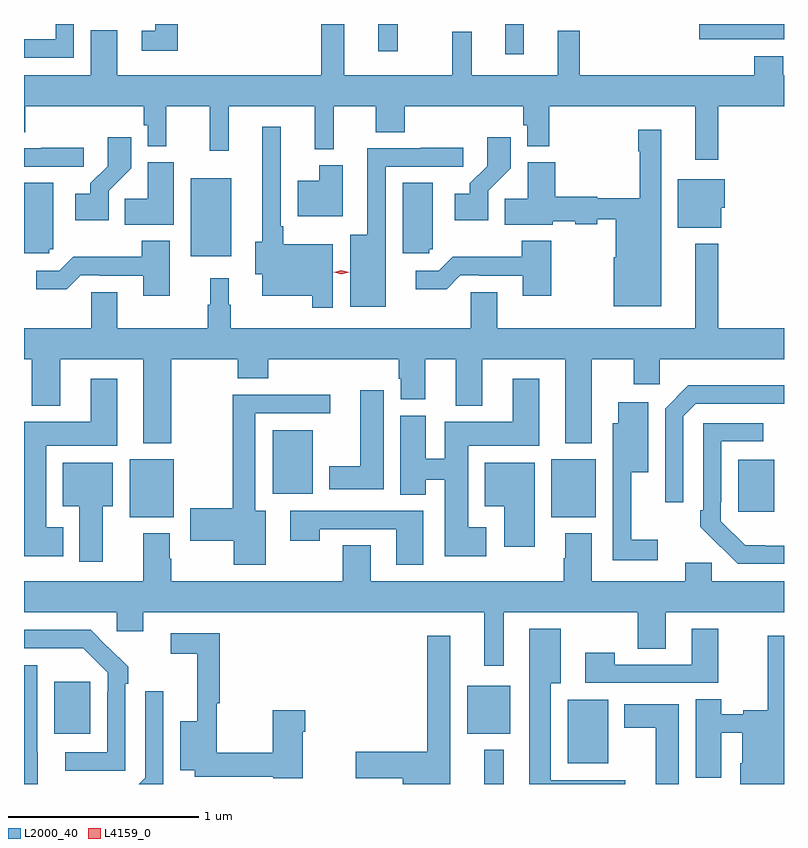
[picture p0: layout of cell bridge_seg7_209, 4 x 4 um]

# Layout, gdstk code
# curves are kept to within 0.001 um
import gdstk
lib = gdstk.Library(unit=1e-6, precision=1e-09)
def R(c, l, rs):  # rectangles x0, y0, x1, y1
    for r in rs: c.add(gdstk.rectangle(r[:2], r[2:], *l))
def P(c, l, *ps):  # polygons
    for p in ps: c.add(gdstk.Polygon(p, *l))
L2000_40 = (2000, 40)
L4159_0 = (4159, 0)

bridge_seg7_209 = lib.new_cell('bridge_seg7_209')
R(bridge_seg7_209, L2000_40, [(124.055,1015.697,124.159,1015.876), (124.496,1015.805,124.708,1016.14), (121.793,1015.961,121.981,1016.236), (123.965,1015.961,124.192,1016.215), (122.189,1017.101,122.422,1017.406), (124.409,1017.101,124.642,1017.406), (125.393,1017.129,125.581,1017.403), (122.942,1017.224,123.154,1017.559), (122.51,1018.475,122.725,1018.885), (124.167,1019.538,124.264,1019.697), (123.497,1019.553,123.601,1019.697), (125.187,1019.616,125.633,1019.697)])
P(bridge_seg7_209, L2000_40, [(122.441,1019.697),(122.325,1019.697),(122.325,1019.661),(122.253,1019.661),(122.253,1019.556),(122.441,1019.556)],
  [(121.896,1019.697),(121.799,1019.697),(121.799,1019.616),(121.633,1019.616),(121.633,1019.52),(121.896,1019.52)],
  [(125.287,1019.264),(125.633,1019.264),(125.633,1019.428),(125.629,1019.428),(125.629,1019.527),(125.477,1019.527),(125.477,1019.428),(124.559,1019.428),(124.559,1019.662),(124.442,1019.662),(124.442,1019.428),(123.989,1019.428),(123.989,1019.656),(123.886,1019.656),(123.886,1019.428),(123.319,1019.428),(123.319,1019.697),(123.198,1019.697),(123.198,1019.428),(122.125,1019.428),(122.125,1019.664),(121.985,1019.664),(121.985,1019.428),(121.633,1019.428),(121.633,1019.128),(121.64,1019.128),(121.64,1019.264),(122.263,1019.264),(122.263,1019.163),(122.283,1019.163),(122.283,1019.054),(122.382,1019.054),(122.382,1019.264),(122.611,1019.264),(122.611,1019.031),(122.711,1019.031),(122.711,1019.264),(123.164,1019.264),(123.164,1019.039),(123.263,1019.039),(123.263,1019.264),(123.485,1019.264),(123.485,1019.128),(123.638,1019.128),(123.638,1019.264),(124.261,1019.264),(124.261,1019.163),(124.281,1019.163),(124.281,1019.054),(124.397,1019.054),(124.397,1019.264),(125.165,1019.264),(125.165,1018.983),(125.287,1018.983)],
  [(123.258,1018.537),(122.998,1018.537),(122.998,1018.633),(122.985,1018.633),(122.985,1019.155),(122.888,1019.155),(122.888,1018.55),(122.849,1018.55),(122.849,1018.379),(122.888,1018.379),(122.888,1018.268),(123.15,1018.268),(123.15,1018.203),(123.258,1018.203)],
  [(124.987,1019.14),(124.866,1019.14),(124.866,1019.027),(124.873,1019.027),(124.873,1018.78),(124.65,1018.78),(124.65,1018.788),(124.428,1018.788),(124.428,1018.969),(124.283,1018.969),(124.283,1018.778),(124.162,1018.778),(124.162,1018.64),(124.416,1018.64),(124.416,1018.658),(124.533,1018.658),(124.533,1018.643),(124.65,1018.643),(124.65,1018.67),(124.748,1018.67),(124.748,1018.47),(124.736,1018.47),(124.736,1018.211),(124.987,1018.211)],
  [(122.079,1018.819),(122.198,1018.938),(122.198,1019.101),(122.073,1019.101),(122.073,1018.949),(121.982,1018.859),(121.982,1018.804),(121.902,1018.804),(121.902,1018.664),(122.079,1018.664)],
  [(124.077,1018.819),(124.196,1018.938),(124.196,1019.101),(124.071,1019.101),(124.071,1018.949),(123.98,1018.859),(123.98,1018.804),(123.9,1018.804),(123.9,1018.664),(124.077,1018.664)],
  [(123.538,1018.484),(123.537,1018.484),(123.537,1018.947),(123.946,1018.947),(123.946,1019.046),(123.721,1019.046),(123.721,1019.043),(123.44,1019.043),(123.44,1018.588),(123.35,1018.588),(123.35,1018.208),(123.538,1018.208)],
  [(121.948,1019.046),(121.723,1019.046),(121.723,1019.043),(121.633,1019.043),(121.633,1018.947),(121.948,1018.947)],
  [(122.422,1018.969),(122.285,1018.969),(122.285,1018.778),(122.164,1018.778),(122.164,1018.64),(122.422,1018.64)],
  [(123.31,1018.954),(123.188,1018.954),(123.188,1018.873),(123.074,1018.873),(123.074,1018.685),(123.31,1018.685)],
  [(125.302,1018.731),(125.32,1018.731),(125.32,1018.879),(125.075,1018.879),(125.075,1018.625),(125.302,1018.625)],
  [(121.767,1018.512),(121.786,1018.512),(121.786,1018.861),(121.633,1018.861),(121.633,1018.491),(121.767,1018.491)],
  [(123.765,1018.512),(123.784,1018.512),(123.784,1018.861),(123.626,1018.861),(123.626,1018.491),(123.765,1018.491)],
  [(122.401,1018.555),(122.254,1018.555),(122.254,1018.471),(121.891,1018.471),(121.818,1018.398),(121.698,1018.398),(121.698,1018.301),(121.859,1018.301),(121.932,1018.374),(122.032,1018.374),(122.032,1018.371),(122.261,1018.371),(122.261,1018.266),(122.401,1018.266)],
  [(124.407,1018.555),(124.252,1018.555),(124.252,1018.471),(123.889,1018.471),(123.816,1018.398),(123.696,1018.398),(123.696,1018.301),(123.857,1018.301),(123.93,1018.374),(124.03,1018.374),(124.03,1018.371),(124.259,1018.371),(124.259,1018.266),(124.407,1018.266)],
  [(122.409,1017.932),(122.758,1017.932),(122.758,1017.833),(122.918,1017.833),(122.918,1017.932),(123.605,1017.932),(123.605,1017.831),(123.617,1017.831),(123.617,1017.721),(123.745,1017.721),(123.745,1017.932),(123.905,1017.932),(123.905,1017.689),(124.045,1017.689),(124.045,1017.932),(124.481,1017.932),(124.481,1017.491),(124.621,1017.491),(124.621,1017.932),(124.841,1017.932),(124.841,1017.801),(124.98,1017.801),(124.98,1017.932),(125.633,1017.932),(125.633,1018.096),(125.287,1018.096),(125.287,1018.54),(125.165,1018.54),(125.165,1018.096),(124.123,1018.096),(124.123,1018.286),(123.984,1018.286),(123.984,1018.096),(122.722,1018.096),(122.722,1018.22),(122.71,1018.22),(122.71,1018.36),(122.612,1018.36),(122.612,1018.22),(122.601,1018.22),(122.601,1018.096),(122.125,1018.096),(122.125,1018.286),(121.986,1018.286),(121.986,1018.096),(121.633,1018.096),(121.633,1017.932),(121.673,1017.932),(121.673,1017.689),(121.825,1017.689),(121.825,1017.932),(122.261,1017.932),(122.261,1017.491),(122.409,1017.491)],
  [(124.066,1017.049),(123.97,1017.049),(123.97,1017.476),(124.345,1017.476),(124.345,1017.829),(124.205,1017.829),(124.205,1017.604),(123.848,1017.604),(123.848,1017.409),(123.748,1017.409),(123.748,1017.636),(123.614,1017.636),(123.614,1017.22),(123.748,1017.22),(123.748,1017.299),(123.848,1017.299),(123.848,1016.897),(124.066,1016.897)],
  [(121.84,1017.049),(121.75,1017.049),(121.75,1017.476),(122.125,1017.476),(122.125,1017.829),(121.985,1017.829),(121.985,1017.604),(121.633,1017.604),(121.633,1016.897),(121.84,1016.897)],
  [(125.103,1017.633),(125.169,1017.699),(125.633,1017.699),(125.633,1017.796),(125.13,1017.796),(125.007,1017.673),(125.007,1017.18),(125.103,1017.18)],
  [(123.526,1017.769),(123.404,1017.769),(123.404,1017.37),(123.239,1017.37),(123.239,1017.248),(123.526,1017.248)],
  [(122.905,1017.136),(122.851,1017.136),(122.851,1017.648),(123.244,1017.648),(123.244,1017.746),(122.731,1017.746),(122.731,1017.149),(122.508,1017.149),(122.508,1016.978),(122.738,1016.978),(122.738,1016.85),(122.905,1016.85)],
  [(124.969,1016.983),(124.829,1016.983),(124.829,1017.338),(124.918,1017.338),(124.918,1017.706),(124.76,1017.706),(124.76,1017.595),(124.731,1017.595),(124.731,1016.874),(124.969,1016.874)],
  [(125.633,1016.952),(125.43,1016.953),(125.301,1017.081),(125.301,1017.181),(125.304,1017.181),(125.304,1017.501),(125.524,1017.501),(125.524,1017.597),(125.208,1017.597),(125.208,1017.139),(125.193,1017.139),(125.193,1017.051),(125.39,1016.856),(125.633,1016.856)],
  [(122.047,1017.158),(122.101,1017.158),(122.101,1017.388),(121.838,1017.388),(121.838,1017.158),(121.925,1017.158),(121.925,1016.868),(122.047,1016.868)],
  [(124.321,1017.388),(124.058,1017.388),(124.058,1017.158),(124.16,1017.158),(124.16,1016.946),(124.321,1016.946)],
  [(123.733,1017.135),(123.033,1017.135),(123.033,1016.976),(123.189,1016.976),(123.189,1017.039),(123.593,1017.039),(123.593,1016.85),(123.733,1016.85)],
  [(124.159,1016.6),(124.864,1016.6),(124.864,1016.41),(125.011,1016.41),(125.011,1016.6),(125.633,1016.6),(125.633,1016.764),(125.253,1016.764),(125.253,1016.862),(125.114,1016.862),(125.114,1016.764),(124.621,1016.764),(124.621,1017.016),(124.481,1017.016),(124.481,1016.885),(124.474,1016.885),(124.474,1016.764),(123.457,1016.764),(123.457,1016.954),(123.31,1016.954),(123.31,1016.764),(122.409,1016.764),(122.409,1016.882),(122.401,1016.882),(122.401,1017.016),(122.261,1017.016),(122.261,1016.764),(121.633,1016.764),(121.633,1016.6),(122.121,1016.6),(122.121,1016.502),(122.26,1016.502),(122.26,1016.6),(124.055,1016.6),(124.055,1016.319),(124.159,1016.319)],
  [(125.287,1016.515),(125.147,1016.515),(125.147,1016.325),(124.743,1016.325),(124.743,1016.389),(124.587,1016.389),(124.587,1016.229),(125.287,1016.229)],
  [(124.798,1015.716),(124.405,1015.716),(124.405,1016.228),(124.459,1016.228),(124.459,1016.515),(124.292,1016.515),(124.292,1015.697),(124.798,1015.697)],
  [(122.166,1016.225),(122.181,1016.225),(122.181,1016.313),(121.984,1016.508),(121.633,1016.508),(121.633,1016.412),(121.945,1016.412),(122.073,1016.283),(122.073,1016.183),(122.07,1016.183),(122.07,1015.863),(121.851,1015.863),(121.851,1015.767),(122.166,1015.767)],
  [(123.1,1015.973),(123.113,1015.973),(123.113,1016.086),(122.942,1016.086),(122.942,1015.862),(122.648,1015.862),(122.648,1016.122),(122.663,1016.122),(122.663,1016.49),(122.406,1016.49),(122.406,1016.382),(122.546,1016.382),(122.546,1016.026),(122.456,1016.026),(122.456,1015.769),(122.532,1015.769),(122.532,1015.734),(122.946,1015.734),(122.946,1015.726),(123.1,1015.726)],
  [(123.877,1016.476),(123.756,1016.476),(123.756,1015.868),(123.378,1015.868),(123.378,1015.726),(123.626,1015.726),(123.626,1015.697),(123.877,1015.697)],
  [(125.633,1016.476),(125.547,1016.476),(125.547,1016.084),(125.418,1016.084),(125.418,1016.065),(125.302,1016.065),(125.302,1016.144),(125.168,1016.144),(125.168,1015.729),(125.302,1015.729),(125.302,1015.967),(125.414,1015.967),(125.414,1015.806),(125.402,1015.806),(125.402,1015.697),(125.633,1015.697)],
  [(121.705,1015.865),(121.704,1015.865),(121.704,1016.322),(121.633,1016.322),(121.633,1015.697),(121.705,1015.697)],
  [(122.367,1016.185),(122.271,1016.185),(122.271,1015.731),(122.237,1015.697),(122.367,1015.697)],
  [(125.08,1016.116),(124.793,1016.116),(124.793,1015.994),(124.958,1015.994),(124.958,1015.697),(125.08,1015.697)])
P(bridge_seg7_209, L4159_0, [(123.304,1018.38),(123.264,1018.39),(123.264,1018.39),(123.264,1018.39),(123.304,1018.4),(123.345,1018.39),(123.345,1018.39),(123.345,1018.39)])

lib.write_gds('bridge_seg7_209.gds')
